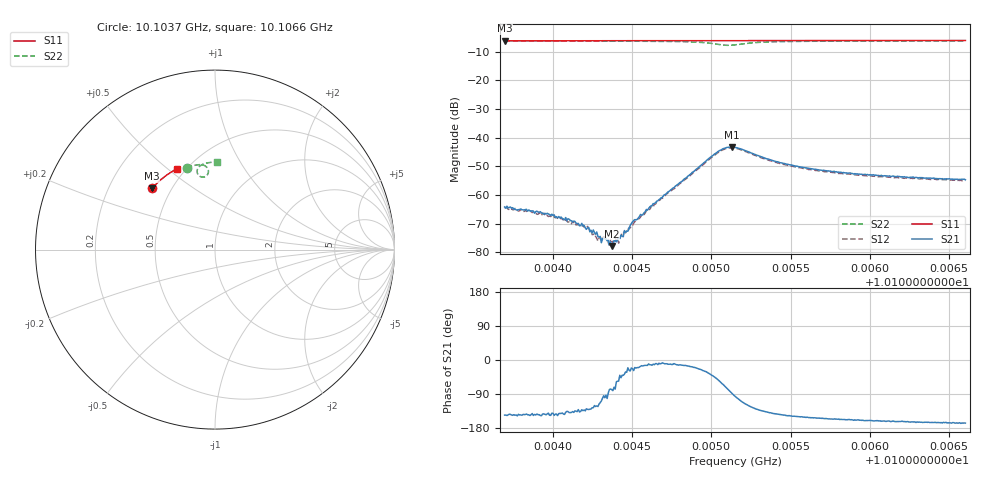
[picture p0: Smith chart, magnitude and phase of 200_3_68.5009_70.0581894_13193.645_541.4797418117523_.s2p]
#  HZ  S  RI  R  50.00
! Rohde & Schwarz Vector Network Analyzer
! Rohde-Schwarz,ZNB20-2Port,1311601062101988,3.16
! Created: UTC 3/20/2024, 5:12:43 PM
! freq[Hz]  re:S11  im:S11  re:S21  im:S21  re:S12  im:S12  re:S22  im:S22
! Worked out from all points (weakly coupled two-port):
!   401 points, 10.1037 GHz to 10.1066 GHz, reference 50 ohm
!   highest |S21| = -43.27 dB at 10.10513 GHz (marker M1); lowest = -77.8 dB at 10.10437 GHz (marker M2)
!   lowest |S11| = -6.2 dB at 10.1037 GHz (marker M3), VSWR 2.92, Z = 19.6 + j17.6 ohm
!   |S11| at or under -10 dB: nowhere
!   |S22| runs from -7.8 to -6.2 dB; largest |S21 - S12| = 0.00072
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1.0103697e10  -0.3513 0.3414  -0.000507 -0.000349  -0.000471 -0.000357  -0.1575 0.4557
1.0103842e10  -0.3454 0.348  -0.000423 -0.000303  -0.000406 -0.000359  -0.1479 0.4593
1.010398e10  -0.3396 0.3542  -0.000376 -0.000254  -0.000324 -0.000274  -0.1388 0.4623
1.0104183e10  -0.331 0.3631  -0.00021 -0.000239  -0.000172 -0.000219  -0.1245 0.4665
1.0104227e10  -0.3291 0.3649  -0.000175 -0.000204  -0.000147 -0.000215  -0.1214 0.4675
1.0104285e10  -0.3265 0.3673  -0.000101 -0.000157  -7.07e-05 -0.000139  -0.117 0.4686
1.01043e10  -0.3261 0.3678  -7.2e-05 -0.000174  -4.85e-05 -0.000176  -0.1159 0.4689
1.0104329e10  -0.3247 0.3691  -2.86e-05 -0.000171  -2.33e-05 -0.000181  -0.1137 0.4694
1.0104372e10  -0.3229 0.371  2.65e-05 -0.000126  4.05e-05 -0.00015  -0.1103 0.4702
1.010438e10  -0.3224 0.3713  2.12e-05 -0.000131  5.53e-05 -0.000132  -0.1097 0.4703
1.0104416e10  -0.3209 0.3729  9.97e-05 -0.000145  8.99e-05 -0.000112  -0.1068 0.4708
1.0104474e10  -0.3184 0.3753  0.000217 -8.09e-05  0.000225 -9.32e-05  -0.1018 0.4716
1.010451e10  -0.3167 0.3766  0.000315 -0.000166  0.000306 -9.06e-05  -0.0986 0.4721
1.010467e10  -0.3094 0.3831  0.000816 -0.000122  0.000795 -6.57e-05  -0.0831 0.4731
1.0105033e10  -0.2922 0.3972  0.00359 -0.00414  0.00379 -0.00362  -0.0375 0.4275
1.0105084e10  -0.2899 0.3988  0.00238 -0.00607  0.00283 -0.00563  -0.0517 0.4082
1.0105128e10  -0.2879 0.4004  0.000357 -0.00686  0.000975 -0.00655  -0.0736 0.4043
1.0105149e10  -0.2871 0.4011  -0.00066 -0.00673  -2.59e-05 -0.00651  -0.0836 0.4078
1.0105411e10  -0.2746 0.411  -0.003 -0.00233  -0.0027 -0.0025  -0.0847 0.4656
1.0105636e10  -0.2634 0.419  -0.00252 -0.00133  -0.0023 -0.00147  -0.0627 0.4774
1.0106123e10  -0.2386 0.435  -0.00203 -0.000697  -0.00186 -0.000826  -0.0245 0.4857
1.0106602e10  -0.2133 0.4492  -0.00179 -0.000429  -0.00169 -0.000568  0.00868 0.4884
